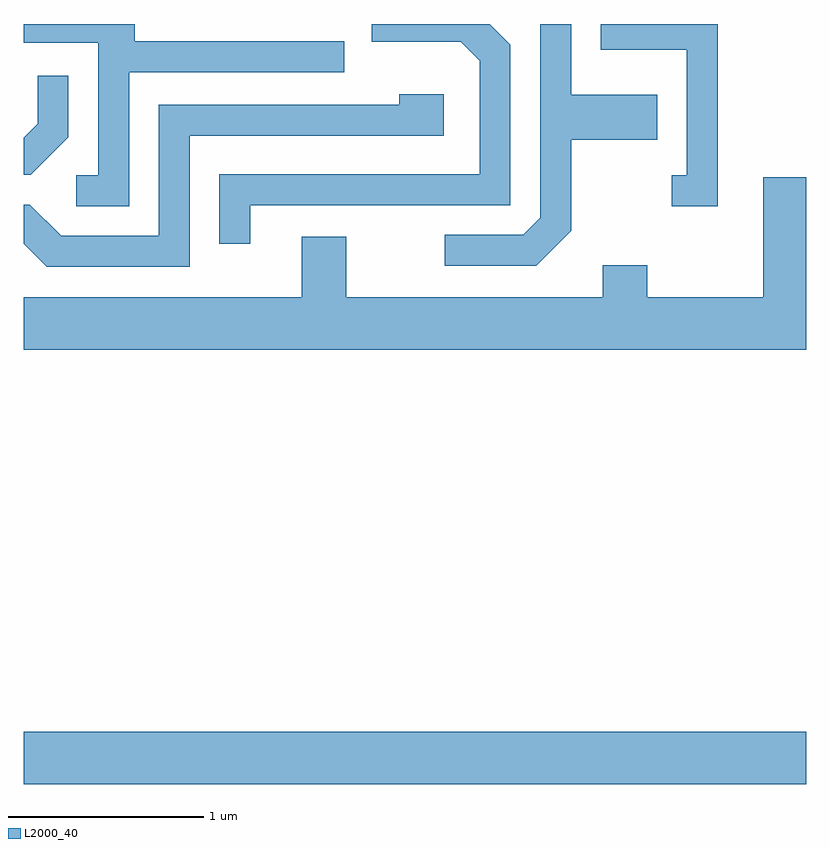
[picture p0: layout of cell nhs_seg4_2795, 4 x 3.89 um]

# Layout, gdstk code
import gdstk
lib = gdstk.Library(unit=1e-6, precision=1e-09)
def R(c, l, rs):  # rectangles x0, y0, x1, y1
    for r in rs: c.add(gdstk.rectangle(r[:2], r[2:], *l))
def P(c, l, *ps):  # polygons
    for p in ps: c.add(gdstk.Polygon(p, *l))
L2000_40 = (2000, 40)

nhs_seg4_2795 = lib.new_cell('nhs_seg4_2795')
R(nhs_seg4_2795, L2000_40, [(267.611,1268.096,271.611,1268.364)])
P(nhs_seg4_2795, L2000_40, [(268.149,1271.736),(269.248,1271.736),(269.248,1271.894),(268.179,1271.894),(268.179,1271.982),(267.611,1271.982),(267.611,1271.886),(267.991,1271.886),(267.991,1271.209),(267.878,1271.209),(267.878,1271.051),(268.149,1271.051)],
  [(270.409,1270.924),(270.409,1271.391),(270.849,1271.391),(270.849,1271.619),(270.409,1271.619),(270.409,1271.982),(270.251,1271.982),(270.251,1270.992),(270.164,1270.904),(269.763,1270.904),(269.763,1270.746),(270.232,1270.746)],
  [(271.159,1271.982),(270.561,1271.982),(270.561,1271.851),(271.001,1271.851),(271.001,1271.209),(270.923,1271.209),(270.923,1271.051),(271.159,1271.051)],
  [(268.769,1271.056),(270.099,1271.056),(270.099,1271.877),(269.994,1271.982),(269.391,1271.982),(269.391,1271.891),(269.844,1271.891),(269.941,1271.794),(269.941,1271.214),(268.611,1271.214),(268.611,1270.858),(268.769,1270.858)],
  [(267.839,1271.404),(267.839,1271.718),(267.681,1271.718),(267.681,1271.472),(267.611,1271.401),(267.611,1271.211),(267.647,1271.211)],
  [(268.459,1271.411),(269.759,1271.411),(269.759,1271.624),(269.531,1271.624),(269.531,1271.569),(268.301,1271.569),(268.301,1270.899),(267.802,1270.899),(267.642,1271.059),(267.611,1271.059),(267.611,1270.859),(267.729,1270.741),(268.459,1270.741)],
  [(271.611,1271.199),(271.391,1271.199),(271.391,1270.584),(270.799,1270.584),(270.799,1270.749),(270.571,1270.749),(270.571,1270.584),(269.259,1270.584),(269.259,1270.894),(269.031,1270.894),(269.031,1270.584),(267.611,1270.584),(267.611,1270.316),(271.611,1270.316)])

lib.write_gds('nhs_seg4_2795.gds')
